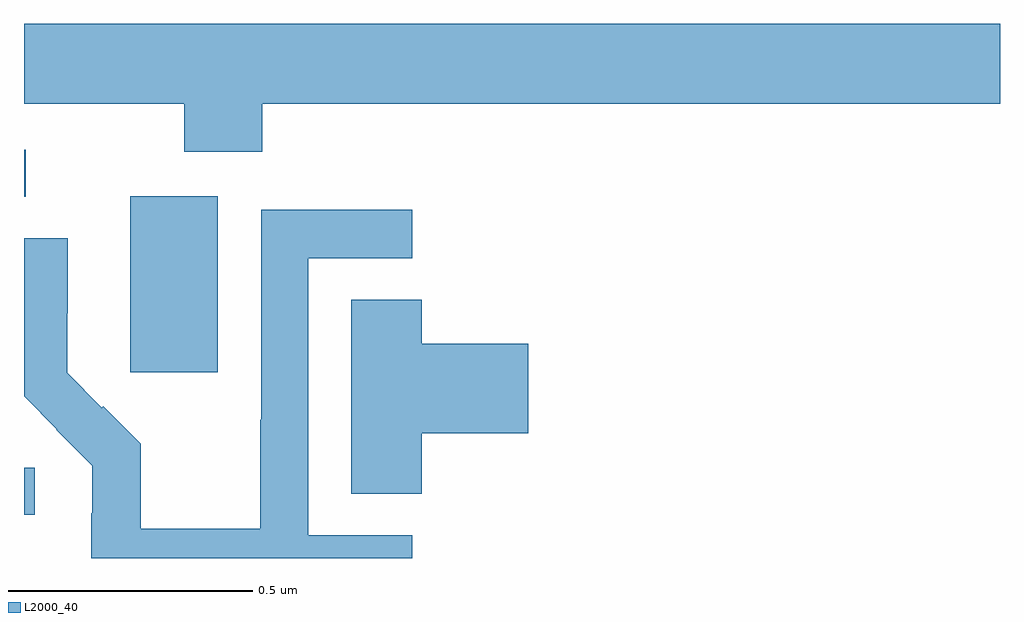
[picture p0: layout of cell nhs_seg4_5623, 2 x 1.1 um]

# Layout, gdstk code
import gdstk
lib = gdstk.Library(unit=1e-6, precision=1e-09)
def R(c, l, rs):  # rectangles x0, y0, x1, y1
    for r in rs: c.add(gdstk.rectangle(r[:2], r[2:], *l))
def P(c, l, *ps):  # polygons
    for p in ps: c.add(gdstk.Polygon(p, *l))
L2000_40 = (2000, 40)

nhs_seg4_5623 = lib.new_cell('nhs_seg4_5623')
R(nhs_seg4_5623, L2000_40, [(180,783.989,180.022,784.086), (180.218,784.281,180.397,784.642), (180,784.641,180.004,784.737)])
P(nhs_seg4_5623, L2000_40, [(180.488,784.832),(182,784.832),(182,784.996),(180,784.996),(180,784.832),(180.328,784.832),(180.328,784.733),(180.488,784.733)],
  [(180.796,783.948),(180.582,783.948),(180.582,784.515),(180.796,784.515),(180.796,784.614),(180.486,784.614),(180.486,784.184),(180.484,784.184),(180.484,783.961),(180.239,783.961),(180.239,784.135),(180.162,784.212),(180.159,784.209),(180.089,784.28),(180.089,784.402),(180.09,784.402),(180.09,784.556),(180,784.556),(180,784.232),(180.067,784.165),(180.066,784.164),(180.14,784.09),(180.14,783.993),(180.138,783.993),(180.138,783.9),(180.796,783.9)],
  [(180.815,784.157),(181.033,784.157),(181.033,784.34),(180.815,784.34),(180.815,784.43),(180.671,784.43),(180.671,784.033),(180.815,784.033)])

lib.write_gds('nhs_seg4_5623.gds')
